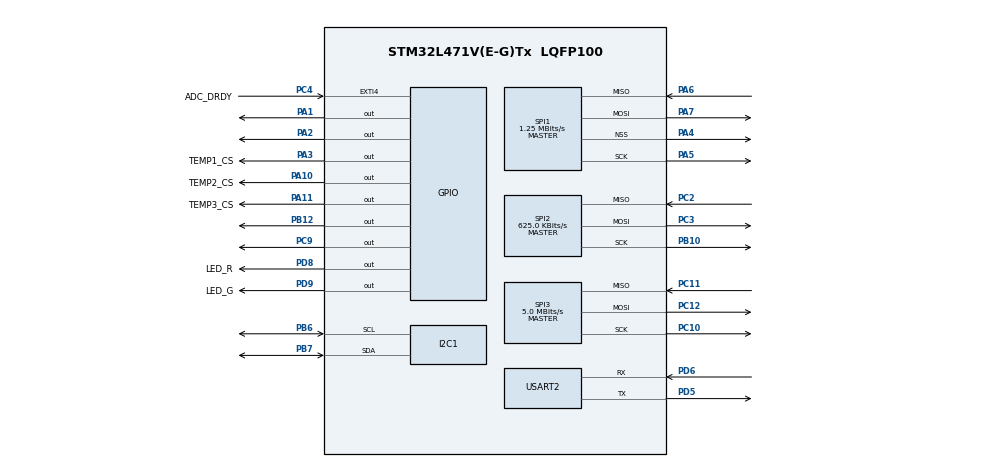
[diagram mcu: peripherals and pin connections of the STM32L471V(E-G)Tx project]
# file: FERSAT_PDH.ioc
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Dma.Request0=SPI2_TX
Dma.Request1=SPI2_RX
Dma.Request2=SPI3_RX
Dma.Request3=SPI3_TX
Dma.SPI2_RX.1.Direction=DMA_PERIPH_TO_MEMORY
Dma.SPI2_RX.1.Instance=DMA1_Channel4
Dma.SPI2_RX.1.MemDataAlignment=DMA_MDATAALIGN_BYTE
Dma.SPI2_RX.1.MemInc=DMA_MINC_ENABLE
Dma.SPI2_RX.1.Mode=DMA_NORMAL
Dma.SPI2_RX.1.PeriphDataAlignment=DMA_PDATAALIGN_BYTE
Dma.SPI2_RX.1.PeriphInc=DMA_PINC_DISABLE
Dma.SPI2_RX.1.Priority=DMA_PRIORITY_VERY_HIGH
Dma.SPI2_TX.0.Direction=DMA_MEMORY_TO_PERIPH
Dma.SPI2_TX.0.Instance=DMA1_Channel5
Dma.SPI2_TX.0.MemDataAlignment=DMA_MDATAALIGN_BYTE
Dma.SPI2_TX.0.MemInc=DMA_MINC_DISABLE
Dma.SPI2_TX.0.Mode=DMA_NORMAL
Dma.SPI2_TX.0.PeriphDataAlignment=DMA_PDATAALIGN_BYTE
Dma.SPI2_TX.0.PeriphInc=DMA_PINC_DISABLE
Dma.SPI2_TX.0.Priority=DMA_PRIORITY_HIGH
Dma.SPI3_RX.2.Direction=DMA_PERIPH_TO_MEMORY
Dma.SPI3_RX.2.Instance=DMA2_Channel1
Dma.SPI3_RX.2.MemDataAlignment=DMA_MDATAALIGN_BYTE
Dma.SPI3_RX.2.MemInc=DMA_MINC_ENABLE
Dma.SPI3_RX.2.Mode=DMA_NORMAL
Dma.SPI3_RX.2.PeriphDataAlignment=DMA_PDATAALIGN_BYTE
Dma.SPI3_RX.2.PeriphInc=DMA_PINC_DISABLE
Dma.SPI3_RX.2.Priority=DMA_PRIORITY_LOW
Dma.SPI3_TX.3.Direction=DMA_MEMORY_TO_PERIPH
Dma.SPI3_TX.3.Instance=DMA2_Channel2
Dma.SPI3_TX.3.MemDataAlignment=DMA_MDATAALIGN_BYTE
Dma.SPI3_TX.3.MemInc=DMA_MINC_ENABLE
Dma.SPI3_TX.3.Mode=DMA_NORMAL
Dma.SPI3_TX.3.PeriphDataAlignment=DMA_PDATAALIGN_BYTE
Dma.SPI3_TX.3.PeriphInc=DMA_PINC_DISABLE
Dma.SPI3_TX.3.Priority=DMA_PRIORITY_LOW
FREERTOS.HEAP_NUMBER=1
FREERTOS.Tasks01=defaultTask,0,128,StartDefaultTask,Default,NULL,Dynamic,NULL,NULL
FREERTOS.configENABLE_FPU=1
FREERTOS.configLIBRARY_MAX_SYSCALL_INTERRUPT_PRIORITY=3
FREERTOS.configMAX_PRIORITIES=6
FREERTOS.configTICK_RATE_HZ=100
FREERTOS.configTOTAL_HEAP_SIZE=51200
FREERTOS.configUSE_COUNTING_SEMAPHORES=1
FREERTOS.configUSE_PREEMPTION=0
FREERTOS.configUSE_RECURSIVE_MUTEXES=1
FREERTOS.configUSE_TIMERS=1
FREERTOS.configUSE_TRACE_FACILITY=1
I2C1.Timing=0x00404C74
Mcu.Family=STM32L4
Mcu.Name=STM32L471V(E-G)Tx
Mcu.Package=LQFP100
NVIC.DMA1_Channel4_IRQn=true\:6\:0\:true\:false\:true\:true\:false\:true\:true
NVIC.DMA1_Channel5_IRQn=true\:6\:0\:true\:false\:true\:true\:false\:true\:true
NVIC.DMA2_Channel1_IRQn=true\:3\:0\:false\:false\:true\:true\:false\:true\:true
NVIC.DMA2_Channel2_IRQn=true\:3\:0\:false\:false\:true\:true\:false\:true\:true
NVIC.EXTI4_IRQn=true\:3\:0\:false\:false\:true\:true\:true\:true\:true
NVIC.I2C1_EV_IRQn=true\:3\:0\:true\:false\:true\:true\:true\:true\:true
NVIC.PriorityGroup=NVIC_PRIORITYGROUP_4
NVIC.USART2_IRQn=true\:5\:0\:true\:false\:true\:true\:true\:true\:true
PA1.PinState=GPIO_PIN_SET
PA1.Signal=GPIO_Output
PA10.GPIO_Label=TEMP2_CS
PA10.PinState=GPIO_PIN_SET
PA10.Signal=GPIO_Output
PA11.GPIO_Label=TEMP3_CS
PA11.PinState=GPIO_PIN_SET
PA11.Signal=GPIO_Output
PA13\ (JTMS-SWDIO).Mode=Trace_Asynchronous_SW
PA13\ (JTMS-SWDIO).Signal=SYS_JTMS-SWDIO
PA14\ (JTCK-SWCLK).Mode=Trace_Asynchronous_SW
PA14\ (JTCK-SWCLK).Signal=SYS_JTCK-SWCLK
PA2.PinState=GPIO_PIN_SET
PA2.Signal=GPIO_Output
PA3.GPIO_Label=TEMP1_CS
PA3.PinState=GPIO_PIN_SET
PA3.Signal=GPIO_Output
PA4.Mode=NSS_Signal_Hard_Output
PA4.Signal=SPI1_NSS
PA5.Mode=Full_Duplex_Master
PA5.Signal=SPI1_SCK
PA6.Mode=Full_Duplex_Master
PA6.Signal=SPI1_MISO
PA7.Mode=Full_Duplex_Master
PA7.Signal=SPI1_MOSI
PB10.Mode=Full_Duplex_Master
PB10.Signal=SPI2_SCK
PB12.GPIO_Speed=GPIO_SPEED_FREQ_VERY_HIGH
PB12.Signal=GPIO_Output
PB3\ (JTDO-TRACESWO).Mode=Trace_Asynchronous_SW
PB3\ (JTDO-TRACESWO).Signal=SYS_JTDO-SWO
PB6.GPIO_Pu=GPIO_PULLUP
PB6.Mode=I2C
PB6.Signal=I2C1_SCL
PB7.GPIO_Pu=GPIO_PULLUP
PB7.Mode=I2C
PB7.Signal=I2C1_SDA
PC10.Mode=Full_Duplex_Master
PC10.Signal=SPI3_SCK
PC11.Mode=Full_Duplex_Master
PC11.Signal=SPI3_MISO
PC12.Mode=Full_Duplex_Master
PC12.Signal=SPI3_MOSI
PC2.Mode=Full_Duplex_Master
PC2.Signal=SPI2_MISO
PC3.Mode=Full_Duplex_Master
PC3.Signal=SPI2_MOSI
PC4.GPIO_Label=ADC_DRDY
PC4.GPIO_ModeDefaultEXTI=GPIO_MODE_IT_FALLING
PC4.Signal=GPXTI4
PC9.PinState=GPIO_PIN_SET
PC9.Signal=GPIO_Output
PD5.Mode=Asynchronous
PD5.Signal=USART2_TX
PD6.Mode=Asynchronous
PD6.Signal=USART2_RX
PD8.GPIO_Label=LED_R
PD8.GPIO_Speed=GPIO_SPEED_FREQ_VERY_HIGH
PD8.Signal=GPIO_Output
PD9.GPIO_Label=LED_G
PD9.GPIO_Speed=GPIO_SPEED_FREQ_VERY_HIGH
PD9.Signal=GPIO_Output
PH0-OSC_IN\ (PH0).Mode=HSE-External-Oscillator
PH0-OSC_IN\ (PH0).Signal=RCC_OSC_IN
PH1-OSC_OUT\ (PH1).Mode=HSE-External-Oscillator
PH1-OSC_OUT\ (PH1).Signal=RCC_OSC_OUT
ProjectManager.HeapSize=0x200
ProjectManager.StackSize=0x400
ProjectManager.TargetToolchain=STM32CubeIDE
RCC.ADCFreq_Value=20000000
RCC.AHBFreq_Value=80000000
RCC.APB1CLKDivider=RCC_HCLK_DIV4
RCC.APB1Freq_Value=20000000
RCC.APB1TimFreq_Value=40000000
RCC.APB2CLKDivider=RCC_HCLK_DIV2
RCC.APB2Freq_Value=40000000
RCC.APB2TimFreq_Value=80000000
RCC.CortexFreq_Value=80000000
RCC.FLatency-AdvancedSettings=FLASH_LATENCY_0
RCC.HCLKFreq_Value=80000000
RCC.HSE_VALUE=25000000
RCC.HSI_VALUE=16000000
RCC.LSE_VALUE=32768
RCC.MSI_VALUE=4000000
RCC.PLLM=5
RCC.PLLN=32
RCC.PLLSourceVirtual=RCC_PLLSOURCE_HSE
RCC.SYSCLKFreq_VALUE=80000000
RCC.SYSCLKSource=RCC_SYSCLKSOURCE_PLLCLK
RCC.VCOOutputFreq_Value=160000000
SPI1.BaudRatePrescaler=SPI_BAUDRATEPRESCALER_32
SPI1.CLKPhase=SPI_PHASE_2EDGE
SPI1.CLKPolarity=SPI_POLARITY_HIGH
SPI1.CRCCalculation=SPI_CRCCALCULATION_DISABLE
SPI1.CalculateBaudRate=1.25 MBits/s
SPI1.DataSize=SPI_DATASIZE_8BIT
SPI1.Direction=SPI_DIRECTION_2LINES
SPI1.Mode=SPI_MODE_MASTER
SPI1.VirtualNSS=VM_NSSHARD
SPI1.VirtualType=VM_MASTER
SPI2.BaudRatePrescaler=SPI_BAUDRATEPRESCALER_32
SPI2.CalculateBaudRate=625.0 KBits/s
SPI2.DataSize=SPI_DATASIZE_8BIT
SPI2.Direction=SPI_DIRECTION_2LINES
SPI2.Mode=SPI_MODE_MASTER
SPI2.NSSPMode=SPI_NSS_PULSE_ENABLE
SPI2.VirtualType=VM_MASTER
SPI3.BaudRatePrescaler=SPI_BAUDRATEPRESCALER_4
SPI3.CLKPhase=SPI_PHASE_2EDGE
SPI3.CLKPolarity=SPI_POLARITY_HIGH
SPI3.CalculateBaudRate=5.0 MBits/s
SPI3.DataSize=SPI_DATASIZE_8BIT
SPI3.Direction=SPI_DIRECTION_2LINES
SPI3.Mode=SPI_MODE_MASTER
SPI3.VirtualType=VM_MASTER
TIM2.Period=39999
TIM2.Prescaler=1
USART2.VirtualMode-Asynchronous=VM_ASYNC
VP_FREERTOS_VS_CMSIS_V1.Mode=CMSIS_V1
VP_TIM2_VS_ClockSourceINT.Mode=Internal
VP_TIM2_VS_OPM.Mode=OPM_bit
board=custom

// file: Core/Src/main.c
/* USER CODE BEGIN Header */
/**
  ******************************************************************************
  * @file           : main.c
  * @brief          : Main program body
  ******************************************************************************
  * @attention
  *
  * Copyright (c) 2022 STMicroelectronics.
  * All rights reserved.
  *
  * This software is licensed under terms that can be found in the LICENSE file
  * in the root directory of this software component.
  * If no LICENSE file comes with this software, it is provided AS-IS.
  *
  ******************************************************************************
  */
/* USER CODE END Header */
#include "main.h"
#include "cmsis_os.h"
#include "dma.h"
#include "i2c.h"
#include "spi.h"
#include "tim.h"
#include "usart.h"
#include "gpio.h"

/* USER CODE BEGIN Includes */
#include "filesys_api.h"
#include "sensor_board.h"
#include <stdio.h>
#include "arm_math.h"
/* USER CODE END Includes */

/* USER CODE BEGIN PV */
uint8_t xband_buf[XBAND_BUF_SIZE];
uint8_t sbc_buf[SBC_BUF_SIZE]; //sensor_board/camera buffer

QueueHandle_t xband_queue, camera_queue, device_status_queue, sensor_board_queue;
TaskHandle_t InterpTask_handle;
/* USER CODE END PV */

void SystemClock_Config(void);
void MX_FREERTOS_Init(void);

/* USER CODE BEGIN 0 */
void vTaskXBand(void *pvParameters){
	uint16_t file, current_pack_size;
	uint32_t file_size;
	struct xband_params xband;
	struct pdh_device_status pdh_device;
	pdh_device.device = dev_xband;

	while(1){
		pdh_device.status = PDH_DEVICE_OK;
		pdh_device.errno = 0xFFFFFFFF;
		pdh_device.target_file_name = 0xFFFF;

		xQueueReceive(xband_queue, &xband, portMAX_DELAY);

		if( xband.reinit_filesys ){
			if( reinit_fs()==FS_FAIL ){
				pdh_device.status = PDH_DEVICE_ERR;
				pdh_device.target_file_name = 0xFFFF;
				pdh_device.errno = errno;
			}
		} else {
			if(xband.filename_to_transmit!=0xFFFF){
				file = open(xband.filename_to_transmit, O_RDONLY);
				if( file==0xFFFF ){
					pdh_device.status = PDH_DEVICE_ERR;
					pdh_device.target_file_name = xband.filename_to_transmit;
					pdh_device.errno = errno;
					xband.delete_transmited_yn = 0;
					xband.filename_to_delete = 0xFFFF;
					file_size = 0;
				} else {
					file_size = get_file_size(file);
				}

				if( file_size==0xFFFFFFFF ){
					pdh_device.status = PDH_DEVICE_ERR;
					pdh_device.target_file_name = xband.filename_to_transmit;
					pdh_device.errno = errno;
					xband.delete_transmited_yn = 0;
					xband.filename_to_delete = 0xFFFF;
					file_size = 0;
				}

				while( file_size>0 ){
					if( file_size>XBAND_BUF_SIZE ){
						current_pack_size = XBAND_BUF_SIZE;
						file_size -= XBAND_BUF_SIZE;
					} else {
						current_pack_size = file_size;
						file_size = 0;
					}

					if( read(file, xband_buf, current_pack_size)==0xFFFFFFFF ){
						pdh_device.status = PDH_DEVICE_ERR;
						pdh_device.target_file_name = xband.filename_to_transmit;
						pdh_device.errno = errno;
						xband.delete_transmited_yn = 0;
						xband.filename_to_delete = 0xFFFF;
						break;
					}

					uart_send_data(xband_buf,current_pack_size );
				}

				if(xband.delete_transmited_yn){
					if( remove_(xband.filename_to_transmit)==0xFF){
						pdh_device.status = PDH_DEVICE_ERR;
						pdh_device.target_file_name = xband.filename_to_transmit;
						pdh_device.errno = errno;
						xband.filename_to_delete = 0xFFFF;
					}
				}
			}
			if(xband.filename_to_delete!=0xFFFF){
				if( remove_(xband.filename_to_delete)==0xFF){
					pdh_device.status = PDH_DEVICE_ERR;
					pdh_device.target_file_name = xband.filename_to_delete;
					pdh_device.errno = errno;
				}
			}
		}
		xQueueSendToBack(device_status_queue, &pdh_device, 0);
	}
}

void vTaskCamera(void *pvParameters){
	uint16_t file, current_pack_size;
	uint32_t img_size;
	struct camera_params camera;
	struct pdh_device_status pdh_device;
	pdh_device.device = dev_camera;

	while(1){
		pdh_device.status = PDH_DEVICE_OK;
		pdh_device.errno = 0xFFFFFFFF;
		pdh_device.target_file_name = 0xFFFF;

		xQueueReceive(camera_queue, &camera, portMAX_DELAY);

		file = open(camera.file_name, O_CREAT|O_WRONLY|O_JWEAK);
		if(file==0xFFFF){
			pdh_device.status = PDH_DEVICE_ERR;
			pdh_device.target_file_name = camera.file_name;
			pdh_device.errno = errno;
		} else {
			ACAM_Reset();

			if( camera.format==PDH_IMG_FMT_JPG){
				ACAM_select_JPEG();
			} else {
				ACAM_select_RAW(1); //resolution 5 mp
			}

			ACAM_exp_gain_manual();
			ACAM_set_exposure(camera.exp_nr_lines,camera.exp_nr_lines_frac);
			ACAM_set_gain(camera.gain);

			ACAM_start_capture();
			while( !ACAM_is_cap_complete() );
			wait_for(500,TIM_UNIT_MS);

	    	img_size = ACAM_get_image_size();

	    	while( img_size > 0 ){
	    		if( img_size > SBC_BUF_SIZE ){
				  current_pack_size = SBC_BUF_SIZE;
				  img_size -= SBC_BUF_SIZE;
	    		} else {
				  current_pack_size = img_size;
				  img_size = 0;
	    		}

	    		ACAM_spi_read_package(sbc_buf, current_pack_size);

	    		if( write(file, sbc_buf, current_pack_size )==0xFFFFFFFF ){
	    			pdh_device.status = PDH_DEVICE_ERR;
	    			pdh_device.target_file_name = camera.file_name;
	    			pdh_device.errno = errno;
	    		}
	    	}
	    	pdh_device.target_file_name = camera.file_name;
		}
		xQueueSendToBack(device_status_queue, &pdh_device, 0);
	}
}

void vTaskSensor(void *pvParameters) {
	uint16_t file;
	struct sensor_params params;
	struct pdh_device_status pdh_device;
	pdh_device.device = dev_sensor_board;

	arm_status status;
	arm_rfft_fast_instance_f32 S;
	static float32_t fft_out[NUM_SAMPLES];

	while(1) {
		pdh_device.status = PDH_DEVICE_OK;
		pdh_device.errno = 0xFFFFFFFF;
		pdh_device.target_file_name = 0xFFFF;

		xQueueReceive(sensor_board_queue, &params, portMAX_DELAY);

		Sensor_Board sb;
		SB_Init(&sb);
		taskENTER_CRITICAL();
		SB_Get_Temperature_Readings(&sb);
		taskEXIT_CRITICAL();
		SB_Start_ADC_Sampling(&sb);
		SB_Get_Complex_Samples(&sb);

		// Testing output
		char str[100];
		printf_eig("Sensor testing output: transmitting temperature samples (temp1, temp2):\n");
		sprintf(str, "%.3f, %.3f [degrees Celsius]\n", sb.tmp_sensor->samples[0], sb.tmp_sensor->samples[1]);
		printf_eig((const char *) str);
		printf_eig("\n");

		printf_eig("\nSensor testing output: transmitting first 10 sensor samples (ch0):\n");
		for(int i = 0; i < 20; i += 2) {
			sprintf(str, "%.3f + j%.3f [Volts]\n", sb.adc->complex_samples[i], sb.adc->complex_samples[i+1]);
			printf_eig((const char *) str);
		}

		// Attempt to write ADC samples to file
		file = open(params.adc_samples_file_name, O_CREAT|O_WRONLY|O_JWEAK);
		if(file==0xFFFF){
			pdh_device.status = PDH_DEVICE_ERR;
			pdh_device.target_file_name = params.adc_samples_file_name;
			pdh_device.errno = errno;
		} else {
			if( write(file, (void *) sb.adc->complex_samples, NUM_SAMPLES * 8 * 2 * 4)==0xFFFFFFFF ){
				pdh_device.status = PDH_DEVICE_ERR;
				pdh_device.target_file_name = params.adc_samples_file_name;
				pdh_device.errno = errno;
			} else {
				// Attempt to write temperature samples to file
				file = open(params.temp_samples_file_name, O_CREAT|O_WRONLY|O_JWEAK);
				if(file==0xFFFF){
					pdh_device.status = PDH_DEVICE_ERR;
					pdh_device.target_file_name = params.temp_samples_file_name;
					pdh_device.errno = errno;
				} else {
					if( write(file, (void *) sb.tmp_sensor->samples, 12)==0xFFFFFFFF ){
						pdh_device.status = PDH_DEVICE_ERR;
						pdh_device.target_file_name = params.temp_samples_file_name;
						pdh_device.errno = errno;
					}
				}
			}
			pdh_device.target_file_name = params.adc_samples_file_name;
		}

		// FFT of ch0 data
		status = arm_rfft_fast_init_f32(&S, NUM_SAMPLES);
		arm_rfft_fast_f32(&S, (float32_t *) sb.adc->complex_samples, fft_out, 0);

		printf_eig("FFT output DC offset: ");
		sprintf(str, "%.3f\n", fft_out[0] + fft_out[1]);
		printf_eig((const char *) str);

		xQueueSendToBack(device_status_queue, &pdh_device, 0);
	}
}

void vTaskInterpreter(void *pvParameters){
	struct pdh_params pdh;
	struct pdh_device_status pdh_dev_status;
	uint8_t s[8], collect_params = 0;
	uint8_t nr_sent, nr_rec;
	uint16_t u16_param;

	//default params
	pdh.camera.exp_nr_lines = 512;
	pdh.camera.exp_nr_lines_frac = 0;
	pdh.camera.gain = 1;
	pdh.camera.format = PDH_IMG_FMT_JPG;

	if(W25N_init()==0){
		printf_eig("w25n SPI fault\r");
		while(1);
	} else {
		printf_eig("startup_ok\r\n");
	}
	if( start_fs()==FS_FAIL ){
		printf_eig("filesystem init failure.\r\n");
	}

	while(1){
		//-----XBAND-BEGIN-----
				pdh.xband.reinit_filesys = 0;
				nr_sent = 0;
				nr_rec = 0;
				do {
					printf_eig("Type 'reinit' to reinitialize the filesystem, 'n' not to\n");
					if( gets_eig(s)!= NULL){
						if( !strcmp((char *)s,"reinit") ){
							pdh.xband.reinit_filesys = 1;
							break;
						} else if( !strcmp((char *)s,"n") ){
							break;
						} else {
							printf_eig("Invalid command!\n");
						}
					}
				} while(1);

				if(pdh.xband.reinit_filesys==1){
					xQueueSendToBack(xband_queue, &pdh.xband, 0);
					nr_sent++;
				} else {

					do {
						printf_eig("Press 'y' to select file for transmission, 'n' to skip\n");
						if( gets_eig(s)!= NULL){
							if( !strcmp((char *)s,"y") ){
								collect_params = 1;
								break;
							} else if( !strcmp((char *)s,"n") ){
								pdh.xband.filename_to_transmit = 0xFFFF;
								collect_params = 0;
								break;
							} else {
								printf_eig("Invalid command!\n");
							}
						}
					} while(1);

					if( collect_params ){
						collect_params = 0;
						do {
							printf_eig("Enter file name [0-1023] of file to be transmitted via x-band.\n");
							if( gets_eig(s)!= NULL){
								u16_param = parse_file_name(s);
								if( u16_param==0xFFFF ){
									printf_eig("File name must be a number between 0 and 1023 (included)\n");
								} else {
									pdh.xband.filename_to_transmit = u16_param;
									break;
								}
							}
						} while(1);

						do {
							printf_eig("Press 'y' to delete file after transmission, 'n' to keep it\n");
							if( gets_eig(s)!= NULL){
								if( !strcmp((char *)s,"y") ){
									pdh.xband.delete_transmited_yn = 1;
									break;
								} else if( !strcmp((char *)s,"n") ){
									pdh.xband.delete_transmited_yn = 0;
									break;
								} else {
									printf_eig("Invalid command!\n");
								}
							}
						} while(1);
					}

					do {
						printf_eig("Any [other] file you would like to delete?['y'/'n']\n");
						if( gets_eig(s)!= NULL){
							if( !strcmp((char *)s,"y") ){
								collect_params = 1;
								break;
							} else if( !strcmp((char *)s,"n") ){
								pdh.xband.filename_to_delete = 0xFFFF;
								collect_params =0;
								break;
							} else {
								printf_eig("Invalid command!\n");
							}
						}
					} while(1);

					if(collect_params){
						collect_params = 0;
						do {
							printf_eig("Enter file name [0-1023] of file to delete.\n");
							if( gets_eig(s)!= NULL){
								u16_param = parse_file_name(s);
								if( u16_param==0xFFFF ){
									printf_eig("File name must be a number between 0 and 1023 (included)\n");
								} else {
									pdh.xband.filename_to_delete = u16_param;
									break;
								}
							}
						} while(1);
					}
					xQueueSendToBack(xband_queue, &pdh.xband, 0);
					nr_sent++;

				}
				//-----XBAND-END-----
		//-----CAMERA-BEGIN-----
		do {
			printf_eig("Press 'y' to set camera params, 'd' to use default/previous, 'n' to skip\r\n");
			if( gets_eig(s)!= NULL){
				if( !strcmp((char *)s,"y") ){
					collect_params = 1;
					break;
				} else if( !strcmp((char *)s,"d") ){
					collect_params = 2;
					break;
				} else if( !strcmp((char *)s,"n") ){
					collect_params = 0;
					break;
				} else {
					printf_eig("Invalid command!\r\n");
				}
			}
		} while(1);

		if( collect_params==1 ){
			//collect new parameters
			collect_params = 0;

			do {
				printf_eig("Set exposure nr_lines (uint16_t).\r\n");
				if( gets_eig(s)!= NULL){
					pdh.camera.exp_nr_lines = parse_uint16(s);
					break;
				}
			} while(1);

			do {
				printf_eig("Set exposure nr_lines frac (uint8_t).\r\n");
				if( gets_eig(s)!= NULL){
					pdh.camera.exp_nr_lines_frac = (uint8_t)parse_uint16(s);
					break;
				}
			} while(1);

			do {
				printf_eig("Set gain (uint8_t), see acam.h.\r\n");
				if( gets_eig(s)!= NULL){
					pdh.camera.gain = (uint8_t)parse_uint16(s);
					break;
				}
			} while(1);

			do {
				printf_eig("Select format: 'r' for raw, 'j' for jpeg,\r\n");
				if( gets_eig(s)!= NULL){
					if( !strcmp((char *)s,"r") ){
						pdh.camera.format = PDH_IMG_FMT_RAW;
						break;
					} else if( !strcmp((char *)s,"j") ){
						pdh.camera.format = PDH_IMG_FMT_JPG;
						break;
					} else {
						printf_eig("Invalid command!\r\n");
					}
				}
			} while(1);

			do {
				printf_eig("Enter file name [0-1023] to store image measurments.\r\n");
				if( gets_eig(s)!= NULL){
					u16_param = parse_file_name(s);
					if( u16_param==0xFFFF ){
						printf_eig("File name must be a number between 0 and 1023 (included)\r\n");
					} else {
						pdh.camera.file_name = u16_param;
						break;
					}
				}
			} while(1);
			xQueueSendToBack(camera_queue, &pdh.camera, 0);
			nr_sent++;

		} else if(collect_params==2){
			//use defaults/previous value, only gather file name
			collect_params = 0;
			do {
				printf_eig("Enter file name [0-1023] to store image.\r\n");
				if( gets_eig(s)!= NULL){
					u16_param = parse_file_name(s);
					if( u16_param==0xFFFF ){
						printf_eig("File name must be a number between 0 and 1023 (included)\r\n");
					} else {
						pdh.camera.file_name = u16_param;
						break;
					}
				}
			} while(1);
			xQueueSendToBack(camera_queue, &pdh.camera, 0);
			nr_sent++;
		}
		//-----CAMERA-END-----

		//-----SENSOR-BOARD-START-----

		do {
			printf_eig("Press 'y' to set sensor params, 'n' to skip\r\n");
			if( gets_eig(s)!= NULL){
				if( !strcmp((char *)s,"y") ){
					collect_params = 1;
					break;
				} else if( !strcmp((char *)s,"n") ){
					collect_params = 0;
					break;
				} else {
					printf_eig("Invalid command!\r\n");
				}
			}
		} while(1);

		if( collect_params==1 ){
			//collect new parameters
			collect_params = 0;

			do {
				printf_eig("Enter file name [0-1023] to store sensor data.\r\n");
				if( gets_eig(s)!= NULL){
					u16_param = parse_file_name(s);
					if( u16_param==0xFFFF ){
						printf_eig("File name must be a number between 0 and 1023 (included)\r\n");
					} else {
						pdh.sensor_board.adc_samples_file_name = u16_param;
						break;
					}
				}
			} while(1);

			do {
				printf_eig("Enter file name [0-1023] to store temperature data.\r\n");
				if( gets_eig(s)!= NULL){
					u16_param = parse_file_name(s);
					if( u16_param==0xFFFF ){
						printf_eig("File name must be a number between 0 and 1023 (included)\r\n");
					} else if (u16_param == pdh.sensor_board.adc_samples_file_name) {
						printf_eig("File name must be different from sensor data file name.\r\n");
					} else {
						pdh.sensor_board.temp_samples_file_name = u16_param;
						break;
					}
				}
			} while(1);

			xQueueSendToBack(sensor_board_queue, &pdh.sensor_board, 0);
			nr_sent++;
		}

		//-----SENSOR-BOARD-END-------

		do {
			printf_eig("Press 's' to start PDH operations\r\n");
			if( gets_eig(s)!= NULL){
				if( !strcmp((char *)s,"s") ){
					pdh.xband.reinit_filesys = 1;
					break;
				} else {
					printf_eig("Invalid command!\r\n");
				}
			}
		} while(1);

		vTaskPrioritySet(NULL, 1); //drop interpreter task priority to enable execution of PDH device tasks

		do{
			xQueueReceive(device_status_queue, &pdh_dev_status, portMAX_DELAY);
			/*
			if (pdh_dev_status.device==dev_camera){
				printf_eig("Device camera status ");
			}
			*/

			if(pdh_dev_status.device==dev_xband){
				printf_eig("Device xband status ");
			} else if (pdh_dev_status.device==dev_camera){
				printf_eig("Device camera status ");
			}
			else {
				printf_eig("Device sensor board status ");
			}

			if( pdh_dev_status.status==PDH_DEVICE_OK ){
				printf_eig("ok\n");
			} else {
				printf_eig("err\n");
			}

			nr_rec++;
		} while(nr_rec!=nr_sent);

		vTaskPrioritySet(NULL, 4); //raise priority
	}
}
/* USER CODE END 0 */

int main(void)
{

  /* MCU Configuration--------------------------------------------------------*/

  /* Reset of all peripherals, Initializes the Flash interface and the Systick. */
  LL_APB2_GRP1_EnableClock(LL_APB2_GRP1_PERIPH_SYSCFG);
  LL_APB1_GRP1_EnableClock(LL_APB1_GRP1_PERIPH_PWR);

  /* System interrupt init*/
  NVIC_SetPriorityGrouping(NVIC_PRIORITYGROUP_4);

  /* PendSV_IRQn interrupt configuration */
  NVIC_SetPriority(PendSV_IRQn, NVIC_EncodePriority(NVIC_GetPriorityGrouping(),15, 0));
  /* SysTick_IRQn interrupt configuration */
  NVIC_SetPriority(SysTick_IRQn, NVIC_EncodePriority(NVIC_GetPriorityGrouping(),15, 0));

  /* Configure the system clock */
  SystemClock_Config();

  /* Initialize all configured peripherals */
  MX_GPIO_Init();
  MX_TIM2_Init();
  MX_SPI1_Init();
  MX_DMA_Init();
  MX_SPI2_Init();
  MX_I2C1_Init();
  MX_USART2_UART_Init();
  MX_SPI3_Init();
  /* USER CODE BEGIN 2 */
  // <---------- MAKNUTI KOMENTARE
//  ACAM_DMA_Enable();
//  ACAM_TestComms();

  xband_queue = xQueueCreate(1, sizeof(struct xband_params) );
  camera_queue = xQueueCreate(1, sizeof(struct camera_params) );
  sensor_board_queue = xQueueCreate(1, sizeof(struct sensor_params) );
  device_status_queue = xQueueCreate(3, sizeof(struct pdh_device_status) );

  xTaskCreate( vTaskInterpreter, "Interpreter Task", configMINIMAL_STACK_SIZE*2, NULL, 4, &InterpTask_handle);
  xTaskCreate( vTaskCamera, "Camera Task", configMINIMAL_STACK_SIZE*2, NULL, 2, NULL);
  xTaskCreate( vTaskXBand, "XBand & MemMang Task", configMINIMAL_STACK_SIZE*2, NULL, 3, NULL);
  xTaskCreate( vTaskSensor, "Sensor Board Task", configMINIMAL_STACK_SIZE*2, NULL, 1, NULL);

  vTaskStartScheduler();

  /* USER CODE END 2 */

  /* Call init function for freertos objects (in freertos.c) */
  MX_FREERTOS_Init();

  /* Start scheduler */
  osKernelStart();

  /* We should never get here as control is now taken by the scheduler */
  /* Infinite loop */
  while (1)
  {

  }
}

void SystemClock_Config(void)
{
  LL_FLASH_SetLatency(LL_FLASH_LATENCY_4);
  while(LL_FLASH_GetLatency()!= LL_FLASH_LATENCY_4)
  {
  }
  LL_PWR_SetRegulVoltageScaling(LL_PWR_REGU_VOLTAGE_SCALE1);
  LL_RCC_HSE_Enable();

   /* Wait till HSE is ready */
  while(LL_RCC_HSE_IsReady() != 1)
  {

  }
  LL_RCC_PLL_ConfigDomain_SYS(LL_RCC_PLLSOURCE_HSE, LL_RCC_PLLM_DIV_5, 32, LL_RCC_PLLR_DIV_2);
  LL_RCC_PLL_EnableDomain_SYS();
  LL_RCC_PLL_Enable();

   /* Wait till PLL is ready */
  while(LL_RCC_PLL_IsReady() != 1)
  {

  }
  LL_RCC_SetSysClkSource(LL_RCC_SYS_CLKSOURCE_PLL);

   /* Wait till System clock is ready */
  while(LL_RCC_GetSysClkSource() != LL_RCC_SYS_CLKSOURCE_STATUS_PLL)
  {

  }
  LL_RCC_SetAHBPrescaler(LL_RCC_SYSCLK_DIV_1);
  LL_RCC_SetAPB1Prescaler(LL_RCC_APB1_DIV_4);
  LL_RCC_SetAPB2Prescaler(LL_RCC_APB2_DIV_2);

  LL_Init1msTick(80000000);

  LL_SetSystemCoreClock(80000000);
}

void Error_Handler(void)
{
  __disable_irq();
  while (1)
  {
  }
}

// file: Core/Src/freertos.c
/* USER CODE BEGIN Header */
/**
  ******************************************************************************
  * File Name          : freertos.c
  * Description        : Code for freertos applications
  ******************************************************************************
  * @attention
  *
  * Copyright (c) 2022 STMicroelectronics.
  * All rights reserved.
  *
  * This software is licensed under terms that can be found in the LICENSE file
  * in the root directory of this software component.
  * If no LICENSE file comes with this software, it is provided AS-IS.
  *
  ******************************************************************************
  */
/* USER CODE END Header */

#include "FreeRTOS.h"
#include "task.h"
#include "main.h"
#include "cmsis_os.h"

osThreadId defaultTaskHandle;

void StartDefaultTask(void const * argument);

void MX_FREERTOS_Init(void); /* (MISRA C 2004 rule 8.1) */

/* GetIdleTaskMemory prototype (linked to static allocation support) */
void vApplicationGetIdleTaskMemory( StaticTask_t **ppxIdleTaskTCBBuffer, StackType_t **ppxIdleTaskStackBuffer, uint32_t *pulIdleTaskStackSize );

/* GetTimerTaskMemory prototype (linked to static allocation support) */
void vApplicationGetTimerTaskMemory( StaticTask_t **ppxTimerTaskTCBBuffer, StackType_t **ppxTimerTaskStackBuffer, uint32_t *pulTimerTaskStackSize );

/* USER CODE BEGIN GET_IDLE_TASK_MEMORY */
static StaticTask_t xIdleTaskTCBBuffer;
static StackType_t xIdleStack[configMINIMAL_STACK_SIZE];

void vApplicationGetIdleTaskMemory( StaticTask_t **ppxIdleTaskTCBBuffer, StackType_t **ppxIdleTaskStackBuffer, uint32_t *pulIdleTaskStackSize )
{
  *ppxIdleTaskTCBBuffer = &xIdleTaskTCBBuffer;
  *ppxIdleTaskStackBuffer = &xIdleStack[0];
  *pulIdleTaskStackSize = configMINIMAL_STACK_SIZE;
  /* place for user code */
}
/* USER CODE END GET_IDLE_TASK_MEMORY */

/* USER CODE BEGIN GET_TIMER_TASK_MEMORY */
static StaticTask_t xTimerTaskTCBBuffer;
static StackType_t xTimerStack[configTIMER_TASK_STACK_DEPTH];

void vApplicationGetTimerTaskMemory( StaticTask_t **ppxTimerTaskTCBBuffer, StackType_t **ppxTimerTaskStackBuffer, uint32_t *pulTimerTaskStackSize )
{
  *ppxTimerTaskTCBBuffer = &xTimerTaskTCBBuffer;
  *ppxTimerTaskStackBuffer = &xTimerStack[0];
  *pulTimerTaskStackSize = configTIMER_TASK_STACK_DEPTH;
  /* place for user code */
}
/* USER CODE END GET_TIMER_TASK_MEMORY */

void MX_FREERTOS_Init(void) {

  /* Create the thread(s) */
  /* definition and creation of defaultTask */
  osThreadDef(defaultTask, StartDefaultTask, osPriorityNormal, 0, 128);
  defaultTaskHandle = osThreadCreate(osThread(defaultTask), NULL);

}

void StartDefaultTask(void const * argument)
{
  for(;;)
  {
    osDelay(1);
  }
}
